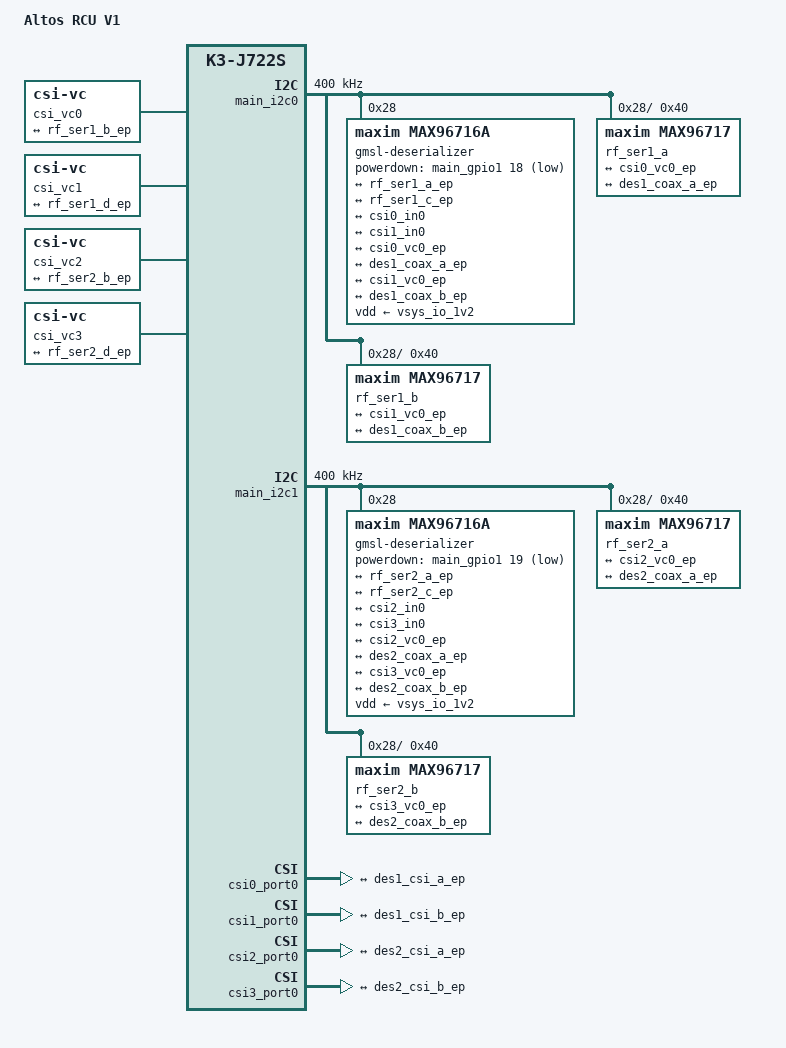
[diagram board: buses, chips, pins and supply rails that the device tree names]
// SPDX-License-Identifier: GPL-2.0-only OR MIT
/*
 * Device Tree file for Altos RCU V1
 * Copyright (C) 2026 Altos Radar
 */

/dts-v1/;

#include "k3-j722s-altos-v3-base.dtsi"

/ {
	model = "Altos RCU V1";
	csi_vc0: csi-vc0 {
		compatible = "csi-vc";
		port {
			csi0_vc0_ep: endpoint {
				remote-endpoint = <&rf_ser1_b_ep>;
				clock-lanes = <0>;
				data-lanes = <1 2 3 4>;
			};
		};
	};

	csi_vc1: csi-vc1 {
		compatible = "csi-vc";
		port {
			csi1_vc0_ep: endpoint {
				remote-endpoint = <&rf_ser1_d_ep>;
				clock-lanes = <0>;
				data-lanes = <1 2 3 4>;
			};
		};
	};

	csi_vc2: csi-vc2 {
		compatible = "csi-vc";
		port {
			csi2_vc0_ep: endpoint {
				remote-endpoint = <&rf_ser2_b_ep>;
				clock-lanes = <0>;
				data-lanes = <1 2 3 4>;
			};
		};
	};

	csi_vc3: csi-vc3 {
		compatible = "csi-vc";
		port {
			csi3_vc0_ep: endpoint {
				remote-endpoint = <&rf_ser2_d_ep>;
				clock-lanes = <0>;
				data-lanes = <1 2 3 4>;
			};
		};
	};

	main_pwm2: dmtimer-main-pwm-2 {
		compatible = "ti,omap-dmtimer-pwm";
		#pwm-cells = <3>;
		ti,timers = <&main_timer2>;
	};

	main_pwm3: dmtimer-main-pwm-3 {
		compatible = "ti,omap-dmtimer-pwm";
		#pwm-cells = <3>;
		ti,timers = <&main_timer3>;
	};
};

&main_pmx0 {
	main_i2c0_pins_default: main-i2c0-default-pins {
		pinctrl-single,pins = <
			J722S_IOPAD(0x01e0, PIN_INPUT_PULLUP, 0) /* (D23) I2C0_SCL */
			J722S_IOPAD(0x01e4, PIN_INPUT_PULLUP, 0) /* (B22) I2C0_SDA */
		>;
	};

	main_i2c1_pins_default: main-i2c1-default-pins {
		pinctrl-single,pins = <
			J722S_IOPAD(0x01e8, PIN_INPUT_PULLUP, 0) /* (C24) I2C1_SCL */
			J722S_IOPAD(0x01ec, PIN_INPUT_PULLUP, 0) /* (A22) I2C1_SDA */
		>;
	};

	serdes1_pins_default: serdes1-default-pins {
		pinctrl-single,pins = <
			J722S_IOPAD(0x0198, PIN_INPUT, 7)  /* (A26) MCASP0_AXR2.GPIO1_8 */
			J722S_IOPAD(0x0230, PIN_OUTPUT, 2) /* (H23) MMC1_DAT0.TIMER_IO3 */
			J722S_IOPAD(0x01c0, PIN_OUTPUT, 7) /* (E19) SPI0_D0.GPIO1_18 */
		>;
	};

	serdes2_pins_default: serdes2-default-pins {
		pinctrl-single,pins = <
			J722S_IOPAD(0x0194, PIN_INPUT, 7)  /* (A25) MCASP0_AXR3.GPIO1_7 */
			J722S_IOPAD(0x022c, PIN_OUTPUT, 2) /* (H20) MMC1_DAT1.TIMER_IO2 */
			J722S_IOPAD(0x01c4, PIN_OUTPUT, 7) /* (E20) SPI0_D1.GPIO1_19 */
		>;
	};
};

&mcu_pmx0 {
	mcu_serdes1_pins_default: mcu-serdes1-default-pins {
		pinctrl-single,pins = <
			J722S_MCU_IOPAD(0x034, PIN_INPUT, 7)   /* (B2) MCU_MCAN0_TX.MCU_GPIO0_13 */
			J722S_MCU_IOPAD(0x038, PIN_INPUT_PULLUP, 7)   /* (D8) MCU_MCAN0_RX.MCU_GPIO0_14 */
			J722S_MCU_IOPAD(0x004, PIN_INPUT_PULLDOWN, 7)   /* (A10) MCU_SPI0_CS1.MCU_GPIO0_1 */
			J722S_MCU_IOPAD(0x000, PIN_OUTPUT, 7)  /* (C12) MCU_SPI0_CS0.MCU_GPIO0_0 */
		>;
	};

	mcu_serdes2_pins_default: mcu-serdes2-default-pins {
		pinctrl-single,pins = <
			J722S_MCU_IOPAD(0x03c, PIN_INPUT, 7)   /* (C1) MCU_MCAN1_TX.MCU_GPIO0_15 */
			J722S_MCU_IOPAD(0x02c, PIN_INPUT_PULLUP, 7)   /* (C4) WKUP_UART0_CTSN.MCU_GPIO0_11 */
			J722S_MCU_IOPAD(0x014, PIN_INPUT_PULLDOWN, 7)   /* (B8) MCU_UART0_RXD.MCU_GPIO0_5 */
			J722S_MCU_IOPAD(0x018, PIN_OUTPUT, 7)  /* (B4) MCU_UART0_TXD.MCU_GPIO0_6 */
		>;
	};

	mcu_spi0_pins_default: mcu-spi0-default-pins {
		pinctrl-single,pins = <
			J722S_MCU_IOPAD(0x008, PIN_OUTPUT, 0)   /* (A9) MCU_SPI0_CLK */
			J722S_MCU_IOPAD(0x00C, PIN_INPUT, 0)    /* (B12) MCU_SPI0_D0 */
			J722S_MCU_IOPAD(0x010, PIN_OUTPUT, 0)   /* (C11) MCU_SPI0_D1 */
		>;
	};

	mcu_spi1_pins_default: mcu-spi1-default-pins {
		pinctrl-single,pins = <
			J722S_MCU_IOPAD(0x040, PIN_OUTPUT, 4)	/* (B1) MCU_MCAN1_RX.MCU_SPI1_CLK */
			J722S_MCU_IOPAD(0x01c, PIN_INPUT, 3)	/* (B5) MCU_UART0_CTSN.MCU_SPI1_D0 */
			J722S_MCU_IOPAD(0x020, PIN_OUTPUT, 3)	/* (C5) MCU_UART0_RTSN.MCU_SPI1_D1 */
		>;
	};
};

&cpsw3g_phy0 {
	reset-gpios = <&main_gpio1 17 GPIO_ACTIVE_LOW>;
	reset-assert-us = <1000>;
	reset-deassert-us = <1000>;
};

&main_i2c0 {
	status = "okay";
	pinctrl-names = "default";
	pinctrl-0 = <&main_i2c0_pins_default>, <&serdes1_pins_default>, <&mcu_serdes1_pins_default>;
	clock-frequency = <400000>;

	gmsl-deserializer@28 {
		compatible = "maxim,max96716a";
		reg = <0x28>;
		powerdown-gpios = <&main_gpio1 18 GPIO_ACTIVE_LOW>;
		vdd-supply = <&vsys_io_1v2>;

		i2c-alias-pool = <0x41 0x42>;
		pinctrl-names = "default";
		pinctrl-0 =
			<&des1_mfp1>,
			<&des1_mfp2>,
			<&des1_mfp3>,
			<&des1_mfp4>,
			<&des1_mfp8>;

		des1_mfp1: des1-mfp1 {
			pins = "mfp1";
			function = "gpio";
			drive-push-pull;
			output-enable;
			bias-disable;
			maxim,rx-id-a = <18>;
		};
		des1_mfp2: des1-mfp2 {
			pins = "mfp2";
			function = "gpio";
			drive-push-pull;
			output-enable;
			bias-disable;
			maxim,rx-id-b = <20>;
		};
		des1_mfp3: des1-mfp3 {
			pins = "mfp3";
			function = "gpio";
			drive-push-pull;
			output-enable;
			bias-disable;
			maxim,rx-id-a = <17>;
		};
		des1_mfp4: des1-mfp4 {
			pins = "mfp4";
			function = "gpio";
			drive-push-pull;
			output-enable;
			bias-disable;
			maxim,rx-id-b = <19>;
		};
		des1_mfp8: des1-mfp8 {
			pins = "mfp8";
			function = "gpio";
			bias-disable;
			output-disable;
			input-enable;
			maxim,tx-id-a = <16>;
			maxim,tx-id-b = <16>;
			maxim,jitter-compensation-a;
			maxim,jitter-compensation-b;
		};

		ports {
			#address-cells = <1>;
			#size-cells = <0>;
			port@0 {
				reg = <0>;
				des1_coax_a_ep: endpoint {
					remote-endpoint = <&rf_ser1_a_ep>;
				};
			};
			port@1 {
				reg = <1>;
				des1_coax_b_ep: endpoint {
					remote-endpoint = <&rf_ser1_c_ep>;
				};
			};
			port@2 {
				reg = <2>;
				des1_csi_a_ep: endpoint {
					remote-endpoint = <&csi0_in0>;
					clock-lanes = <0>;
                                        data-lanes = <1 2 3 4>;
                                        link-frequencies = /bits/ 64 <1100000000>;
				};
			};
			port@3 {
				reg = <3>;
				des1_csi_b_ep: endpoint {
					remote-endpoint = <&csi1_in0>;
					clock-lanes = <0>;
                                        data-lanes = <1 2 3 4>;
                                        link-frequencies = /bits/ 64 <1100000000>;
				};
			};
		};

		i2c-atr {
			#address-cells = <1>;
			#size-cells = <0>;

			i2c@0 {
				#address-cells = <1>;
				#size-cells = <0>;
				reg = <0>;

				rf_ser1_a: gmsl-serializer@40 {
					compatible = "maxim,max96717";
					reg = <0x40>;

					i2c-alias-pool = <0x51 0x52>;

					gpio-controller;
					#gpio-cells = <2>;
					gpio-ranges = <&rf_ser1_a 0 0 11>;

					pinctrl-names = "default";
					pinctrl-0 =
						<&ser1_a_mfp3>,
						<&ser1_a_mfp5>,
						<&ser1_a_mfp6>;

					ser1_a_mfp3: ser1-mfp3 {
						pins = "mfp3";
						function = "gpio";
						drive-push-pull;
						output-enable;
						bias-disable;
						maxim,rx-id = <16>;
					};
					ser1_a_mfp5: ser1-mfp5 {
						pins = "mfp5";
						function = "gpio";
						bias-disable;
						output-disable;
						input-enable;
						maxim,tx-id = <17>;
					};
					ser1_a_mfp6: ser1-mfp6 {
						pins = "mfp6";
						function = "gpio";
						bias-disable;
						output-disable;
						input-enable;
						maxim,tx-id = <18>;
					};

					ports {
						#address-cells = <1>;
						#size-cells = <0>;

						port@0 {
							reg = <0>;
							rf_ser1_b_ep: endpoint {
								remote-endpoint = <&csi0_vc0_ep>;
								data-lanes = <1 2 3 4>;
							};
						};
						port@1 {
							reg = <1>;
							rf_ser1_a_ep: endpoint {
								remote-endpoint = <&des1_coax_a_ep>;
							};
						};
					};

					i2c-atr {
						#address-cells = <1>;
						#size-cells = <0>;

						i2c@0 {
							#address-cells = <1>;
							#size-cells = <0>;
							reg = <0>;
							dummy@60 {
								compatible = "dummy";
								reg = <0x60>;
							};
							dummy@50 {
								compatible = "dummy";
								reg = <0x50>;
							};
						};
					};
				};
			};
			i2c@1 {
				#address-cells = <1>;
				#size-cells = <0>;
				reg = <1>;

				rf_ser1_b: gmsl-serializer@40 {
					compatible = "maxim,max96717";
					reg = <0x40>;

					i2c-alias-pool = <0x61 0x62>;

					gpio-controller;
					#gpio-cells = <2>;
					gpio-ranges = <&rf_ser1_b 0 0 11>;

					pinctrl-names = "default";
					pinctrl-0 =
						<&ser1_b_mfp3>,
						<&ser1_b_mfp5>,
						<&ser1_b_mfp6>;

					ser1_b_mfp3: ser1-mfp3 {
						pins = "mfp3";
						function = "gpio";
						drive-push-pull;
						output-enable;
						bias-disable;
						maxim,rx-id = <16>;
					};
					ser1_b_mfp5: ser1-mfp5 {
						pins = "mfp5";
						function = "gpio";
						bias-disable;
						output-disable;
						input-enable;
						maxim,tx-id = <19>;
					};

					ser1_b_mfp6: ser1-mfp6 {
						pins = "mfp6";
						function = "gpio";
						bias-disable;
						output-disable;
						input-enable;
						maxim,tx-id = <20>;
					};

					ports {
						#address-cells = <1>;
						#size-cells = <0>;

						port@0 {
							reg = <0>;
							rf_ser1_d_ep: endpoint {
								remote-endpoint = <&csi1_vc0_ep>;
								data-lanes = <1 2 3 4>;
							};
						};
						port@1 {
							reg = <1>;
							rf_ser1_c_ep: endpoint {
								remote-endpoint = <&des1_coax_b_ep>;
							};
						};
					};

					i2c-atr {
						#address-cells = <1>;
						#size-cells = <0>;

						i2c@0 {
							#address-cells = <1>;
							#size-cells = <0>;
							reg = <0>;
							dummy@60 {
								compatible = "dummy";
								reg = <0x60>;
							};
							dummy@50 {
								compatible = "dummy";
								reg = <0x50>;
							};
						};
					};
				};
			};
		};
	};
};

&main_i2c1 {
	status = "okay";
	pinctrl-names = "default";
	pinctrl-0 = <&main_i2c1_pins_default>, <&serdes2_pins_default>, <&mcu_serdes2_pins_default>;
	clock-frequency = <400000>;

	gmsl-deserializer@28 {
		compatible = "maxim,max96716a";
		reg = <0x28>;
		powerdown-gpios = <&main_gpio1 19 GPIO_ACTIVE_LOW>;
		vdd-supply = <&vsys_io_1v2>;

		i2c-alias-pool = <0x41 0x42>;
		pinctrl-names = "default";
		pinctrl-0 =
			<&des2_mfp1>,
			<&des2_mfp2>,
			<&des2_mfp3>,
			<&des2_mfp4>,
			<&des2_mfp8>;

		des2_mfp1: des2-mfp1 {
			pins = "mfp1";
			function = "gpio";
			drive-push-pull;
			output-enable;
			bias-disable;
			maxim,rx-id-a = <18>;
		};
		des2_mfp2: des2-mfp2 {
			pins = "mfp2";
			function = "gpio";
			drive-push-pull;
			output-enable;
			bias-disable;
			maxim,rx-id-b = <20>;
		};
		des2_mfp3: des2-mfp3 {
			pins = "mfp3";
			function = "gpio";
			drive-push-pull;
			output-enable;
			bias-disable;
			maxim,rx-id-a = <17>;
		};
		des2_mfp4: des2-mfp4 {
			pins = "mfp4";
			function = "gpio";
			drive-push-pull;
			output-enable;
			bias-disable;
			maxim,rx-id-b = <19>;
		};
		des2_mfp8: des2-mfp8 {
			pins = "mfp8";
			function = "gpio";
			bias-disable;
			output-disable;
			input-enable;
			maxim,tx-id-a = <16>;
			maxim,tx-id-b = <16>;
			maxim,jitter-compensation-a;
			maxim,jitter-compensation-b;
		};

		ports {
			#address-cells = <1>;
			#size-cells = <0>;
			port@0 {
				reg = <0>;
				des2_coax_a_ep: endpoint {
					remote-endpoint = <&rf_ser2_a_ep>;
				};
			};
			port@1 {
				reg = <1>;
				des2_coax_b_ep: endpoint {
					remote-endpoint = <&rf_ser2_c_ep>;
				};
			};
			port@2 {
				reg = <2>;
				des2_csi_a_ep: endpoint {
					remote-endpoint = <&csi2_in0>;
					clock-lanes = <0>;
                                        data-lanes = <1 2 3 4>;
                                        link-frequencies = /bits/ 64 <1100000000>;
				};
			};
			port@3 {
				reg = <3>;
				des2_csi_b_ep: endpoint {
					remote-endpoint = <&csi3_in0>;
					clock-lanes = <0>;
                                        data-lanes = <1 2 3 4>;
                                        link-frequencies = /bits/ 64 <1100000000>;
				};
			};
		};

		i2c-atr {
			#address-cells = <1>;
			#size-cells = <0>;

			i2c@0 {
				#address-cells = <1>;
				#size-cells = <0>;
				reg = <0>;

				rf_ser2_a: gmsl-serializer@40 {
					compatible = "maxim,max96717";
					reg = <0x40>;

					i2c-alias-pool = <0x51 0x52>;

					gpio-controller;
					#gpio-cells = <2>;
					gpio-ranges = <&rf_ser2_a 0 0 11>;

					pinctrl-names = "default";
					pinctrl-0 = <&ser2_a_mfp3>, <&ser2_a_mfp5>, <&ser2_a_mfp6>;

					ser2_a_mfp3: ser2-mfp3 {
						pins = "mfp3";
						function = "gpio";
						drive-push-pull;
						output-enable;
						bias-disable;
						maxim,rx-id = <16>;
					};
					ser2_a_mfp5: ser2-mfp5 {
						pins = "mfp5";
						function = "gpio";
						bias-disable;
						output-disable;
						input-enable;
						maxim,tx-id = <17>;
					};
					ser2_a_mfp6: ser2-mfp6 {
						pins = "mfp6";
						function = "gpio";
						bias-disable;
						output-disable;
						input-enable;
						maxim,tx-id = <18>;
					};

					ports {
						#address-cells = <1>;
						#size-cells = <0>;

						port@0 {
							reg = <0>;
							rf_ser2_b_ep: endpoint {
								remote-endpoint = <&csi2_vc0_ep>;
								data-lanes = <1 2 3 4>;
							};
						};
						port@1 {
							reg = <1>;
							rf_ser2_a_ep: endpoint {
								remote-endpoint = <&des2_coax_a_ep>;
							};
						};
					};

					i2c-atr {
						#address-cells = <1>;
						#size-cells = <0>;

						i2c@0 {
							#address-cells = <1>;
							#size-cells = <0>;
							reg = <0>;
							dummy@60 {
								compatible = "dummy";
								reg = <0x60>;
							};
							dummy@50 {
								compatible = "dummy";
								reg = <0x50>;
							};
						};
					};
				};
			};
			i2c@1 {
				#address-cells = <1>;
				#size-cells = <0>;
				reg = <1>;

				rf_ser2_b: gmsl-serializer@40 {
					compatible = "maxim,max96717";
					reg = <0x40>;

					i2c-alias-pool = <0x61 0x62>;

					gpio-controller;
					#gpio-cells = <2>;
					gpio-ranges = <&rf_ser2_b 0 0 11>;

					pinctrl-names = "default";
					pinctrl-0 = <&ser2_b_mfp3>, <&ser2_b_mfp5>, <&ser2_b_mfp6>;

					ser2_b_mfp3: ser2-mfp3 {
						pins = "mfp3";
						function = "gpio";
						drive-push-pull;
						output-enable;
						bias-disable;
						maxim,rx-id = <16>;
					};
					ser2_b_mfp5: ser2-mfp5 {
						pins = "mfp5";
						function = "gpio";
						bias-disable;
						output-disable;
						input-enable;
						maxim,tx-id = <19>;
					};
					ser2_b_mfp6: ser2-mfp6 {
						pins = "mfp6";
						function = "gpio";
						bias-disable;
						output-disable;
						input-enable;
						maxim,tx-id = <20>;
					};

					ports {
						#address-cells = <1>;
						#size-cells = <0>;

						port@0 {
							reg = <0>;
							rf_ser2_d_ep: endpoint {
								remote-endpoint = <&csi3_vc0_ep>;
								data-lanes = <1 2 3 4>;
							};
						};
						port@1 {
							reg = <1>;
							rf_ser2_c_ep: endpoint {
								remote-endpoint = <&des2_coax_b_ep>;
							};
						};
					};

					i2c-atr {
						#address-cells = <1>;
						#size-cells = <0>;

						i2c@0 {
							#address-cells = <1>;
							#size-cells = <0>;
							reg = <0>;
							dummy@60 {
								compatible = "dummy";
								reg = <0x60>;
							};
							dummy@50 {
								compatible = "dummy";
								reg = <0x50>;
							};
						};
					};
				};
			};
		};
	};
};

&csi0_port0 {
	status = "okay";

	csi0_in0: endpoint {
		remote-endpoint = <&des1_csi_a_ep>;
		bus-type = <4>; /* CSI2 DPHY */
		clock-lanes = <0>;
		data-lanes = <1 2 3 4>;
	};
};

&csi1_port0 {
	status = "okay";

	csi1_in0: endpoint {
		remote-endpoint = <&des1_csi_b_ep>;
		bus-type = <4>;
		clock-lanes = <0>;
		data-lanes = <1 2 3 4>;
	};
};

&csi2_port0 {
	status = "okay";

	csi2_in0: endpoint {
		remote-endpoint = <&des2_csi_a_ep>;
		bus-type = <4>; /* CSI2 DPHY */
		clock-lanes = <0>;
		data-lanes = <1 2 3 4>;
	};
};

&csi3_port0 {
	status = "okay";

	csi3_in0: endpoint {
		remote-endpoint = <&des2_csi_b_ep>;
		bus-type = <4>;
		clock-lanes = <0>;
		data-lanes = <1 2 3 4>;
	};
};

&ti_csi2rx1 {
	ti,bond = <&ti_csi2rx0>;
};

&ti_csi2rx3 {
	ti,bond = <&ti_csi2rx2>;
};

&mcu_spi0 {
	status = "disabled";
	pinctrl-names = "default";
	pinctrl-0 = <&mcu_spi0_pins_default>;
	ti,spi-num-cs = <0>;

	serdes_spi1: spi@0 {
		compatible = "rohm,dh2228fv";
		reg = <0>;
		spi-max-frequency = <25000000>;
	};
};

&mcu_spi1 {
	status = "disabled";
	pinctrl-names = "default";
	pinctrl-0 = <&mcu_spi1_pins_default>;
	ti,spi-num-cs = <0>;

	serdes_spi2: spi@0 {
		compatible = "rohm,dh2228fv";
		reg = <0>;
		spi-max-frequency = <25000000>;
	};
};
